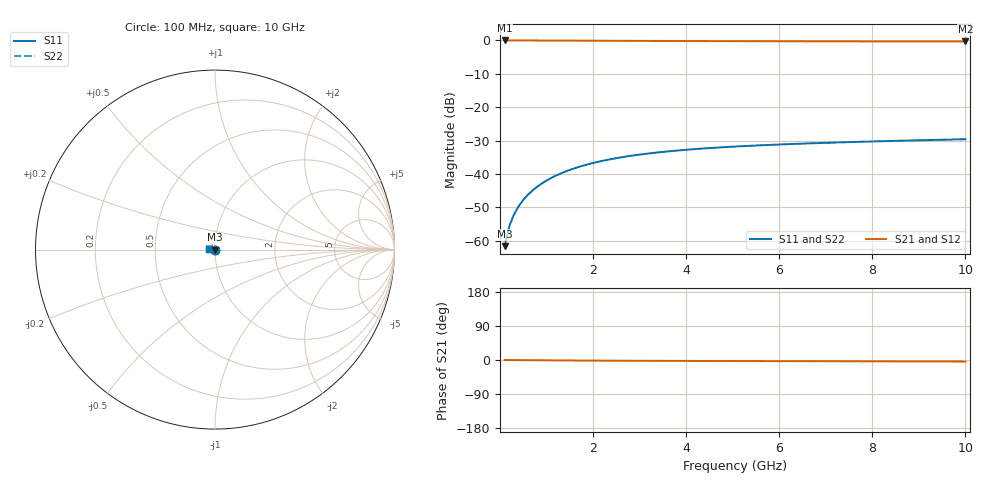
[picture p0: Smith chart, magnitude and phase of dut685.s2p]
! Touchstone file exported from HFSS 2024.1.0
!  File:  C:/UserFiles/LocalFiles/RDL_TSV_Batchsim/temp_TSV1_685_1779795608.aedt
!  Generated:  07:45:15 PM May 26, 2026
!  Design:  TSV1
!  Project:  temp_TSV1_685_1779795608
!  Setup:  Setup1
!  Solution:  Sweep
! Variables:
!  dtsv = 8.56um
!  hbump = 3um
!  htsv = 60.95um
!  lrdl = 252.1521522um
!  p = 40
!  p1 = 46.36um
!  t = 500um
!  trdl = 3um
!  wrdl = 24.89489489um
# GHz S MA R 50.000000
! Terminal data exported
! Port[1] = TSV22_T1
! Port[2] = TSV22_T2
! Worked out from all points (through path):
!   100 points, 100 MHz to 10 GHz, reference 50 ohm
!   highest |S21| = 0.00 dB at 100 MHz (marker M1); lowest = -0.3 dB at 10 GHz (marker M2)
!   lowest |S11| = -61.6 dB at 100 MHz (marker M3), VSWR 1.00, Z = 50 - j0.0819 ohm
!   |S11| at or under -10 dB: start of sweep to end of sweep
!   |S22| runs from -61.6 to -29.6 dB; largest |S21 - S12| = 5.2e-15
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0.1  0.0008309 -80.0  0.9998 -0.1  0.9998 -0.1  0.0008309 -80.0
! Gamma 0 0 0 0
! Port Impedance 50 0 50 0
0.2  0.001648 -87.5  0.9997 -0.2  0.9997 -0.2  0.001648 -87.5
0.3  0.002466 -91.3  0.9996 -0.3  0.9996 -0.3  0.002466 -91.3
0.4  0.003281 -94.1  0.9994 -0.4  0.9994 -0.4  0.003281 -94.1
0.5  0.004088 -96.6  0.9991 -0.5  0.9991 -0.5  0.004088 -96.6
0.6  0.004888 -98.8  0.9988 -0.5  0.9988 -0.5  0.004888 -98.8
0.7  0.005677 -100.8  0.9985 -0.6  0.9985 -0.6  0.005677 -100.8
0.8  0.006456 -102.8  0.9981 -0.7  0.9981 -0.7  0.006456 -102.8
0.9  0.007222 -104.8  0.9977 -0.8  0.9977 -0.8  0.007222 -104.8
1.1  0.008714 -108.4  0.9968 -1.0  0.9968 -1.0  0.008714 -108.4
1.4  0.01083 -113.7  0.9952 -1.2  0.9952 -1.2  0.01083 -113.7
1.6  0.01216 -117.0  0.994 -1.3  0.994 -1.3  0.01216 -117.0
1.8  0.01342 -120.2  0.9928 -1.4  0.9928 -1.4  0.01342 -120.2
2.1  0.01518 -124.7  0.9908 -1.6  0.9908 -1.6  0.01518 -124.7
2.5  0.01727 -130.4  0.9883 -1.8  0.9883 -1.8  0.01727 -130.4
2.9  0.01911 -135.6  0.9858 -2.0  0.9858 -2.0  0.01911 -135.6
3.4  0.02108 -141.5  0.9829 -2.2  0.9829 -2.2  0.02108 -141.5
4.2  0.02364 -149.8  0.9788 -2.5  0.9788 -2.5  0.02364 -149.8
5.1  0.02588 -157.8  0.9752 -2.8  0.9752 -2.8  0.02588 -157.8
6.7  0.02884 -169.3  0.9705 -3.2  0.9705 -3.2  0.02884 -169.3
8.4  0.03125 -179.2  0.9672 -3.6  0.9672 -3.6  0.03125 -179.2
10  0.0332 173.0  0.965 -4.1  0.965 -4.1  0.0332 173.0
